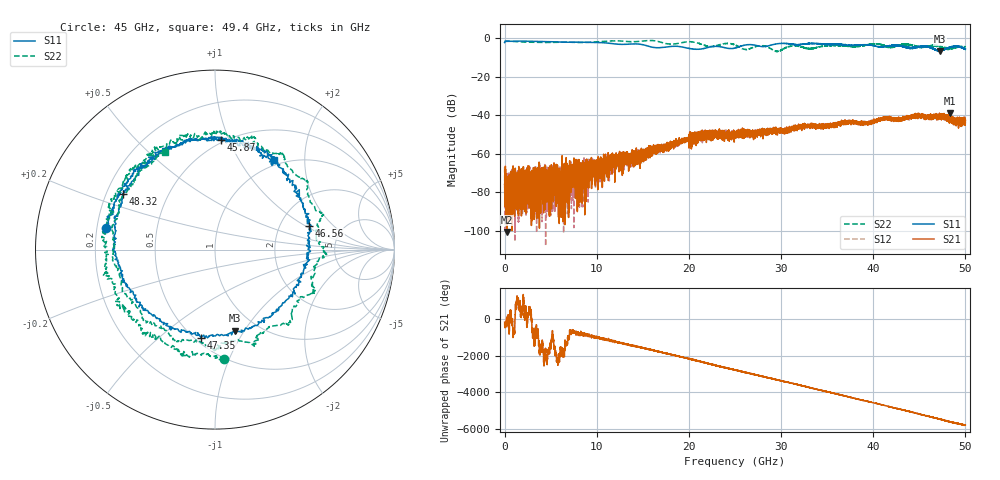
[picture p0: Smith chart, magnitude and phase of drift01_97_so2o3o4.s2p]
!Created with skrf (http://scikit-rf.org).
# Hz S RI R 50.0
!freq ReS11 ImS11 ReS21 ImS21 ReS12 ImS12 ReS22 ImS22
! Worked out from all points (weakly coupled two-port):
!   10001 points, 300 kHz to 50 GHz, reference 50 ohm
!   highest |S21| = -38.80 dB at 48.28 GHz (marker M1); lowest = -100.8 dB at 240.3 MHz (marker M2)
!   lowest |S11| = -6.6 dB at 47.2 GHz (marker M3), VSWR 2.74, Z = 39.5 - j45.5 ohm
!   |S11| at or under -10 dB: nowhere
!   |S22| runs from -6.8 to -1.0 dB; largest |S21 - S12| = 0.0046
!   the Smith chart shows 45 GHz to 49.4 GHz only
!   S11 on the Smith chart (normalised r, x): 45 GHz: 0.24, +0.09; 45.87 GHz: 0.48, +0.93; 46.56 GHz: 2.92, +1.09; 47.35 GHz: 0.54, -0.70; 48.32 GHz: 0.27, +0.26; 49.4 GHz: 0.92, +1.42
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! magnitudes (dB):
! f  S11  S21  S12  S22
! 300 kHz  -2.1  -76.1  -66.9  -1.3
! 240.3 MHz  -1.4  -100.8  -84.9  -1.4
! 6.045 GHz  -1.8  -72.7  -88.3  -2.0
! 8.335 GHz  -1.9  -70.0  -68.9  -2.1
! 16.67 GHz  -4.8  -57.1  -56.9  -1.6
! 21.62 GHz  -5.2  -50.7  -51.5  -3.4
! 25 GHz  -5.0  -51.3  -50.3  -3.4
! 26.18 GHz  -3.3  -48.5  -47.6  -5.7
! 28.09 GHz  -4.3  -48.0  -48.7  -3.8
! 29.53 GHz  -2.8  -47.4  -47.5  -6.7
! 31.3 GHz  -3.1  -47.2  -46.9  -4.0
! 33.34 GHz  -2.6  -45.2  -46.1  -5.5
! 41.67 GHz  -3.9  -40.9  -41.9  -4.5
! 45 GHz  -4.2  -40.2  -40.6  -4.3
! 45.87 GHz  -4.3  -39.9  -41.0  -4.3
! 46.56 GHz  -5.3  -40.2  -41.0  -3.7
! 47.2 GHz  -6.6  -41.1  -39.9  -4.4
! 47.35 GHz  -6.1  -39.9  -40.5  -4.6
! 48.28 GHz  -4.7  -38.8  -40.6  -5.1
! 48.32 GHz  -4.4  -42.2  -41.1  -5.3
! 49.4 GHz  -4.5  -42.9  -43.8  -4.3
! 50 GHz  -5.4  -42.7  -43.5  -4.3
